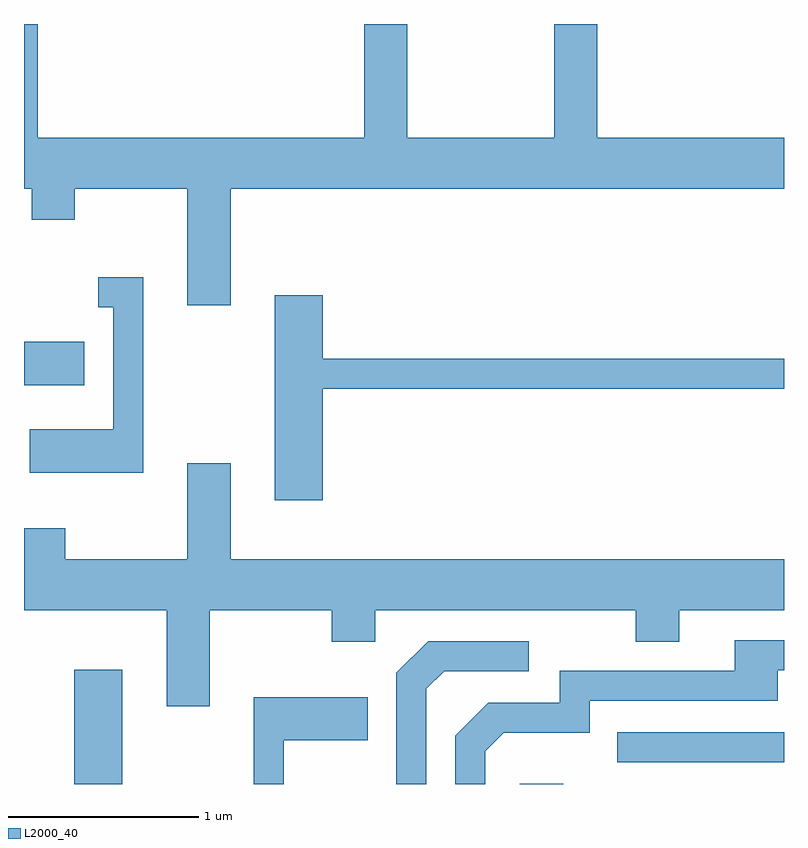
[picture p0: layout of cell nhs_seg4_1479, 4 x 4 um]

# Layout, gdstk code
import gdstk
lib = gdstk.Library(unit=1e-6, precision=1e-09)
def R(c, l, rs):  # rectangles x0, y0, x1, y1
    for r in rs: c.add(gdstk.rectangle(r[:2], r[2:], *l))
def P(c, l, *ps):  # polygons
    for p in ps: c.add(gdstk.Polygon(p, *l))
L2000_40 = (2000, 40)

nhs_seg4_1479 = lib.new_cell('nhs_seg4_1479')
R(nhs_seg4_1479, L2000_40, [(227.876,1355.982,228.129,1356.584), (230.221,1355.982,230.449,1355.984), (230.733,1356.096,231.611,1356.254), (227.611,1358.081,227.929,1358.309)])
P(nhs_seg4_1479, L2000_40, [(228.699,1359.116),(231.611,1359.116),(231.611,1359.384),(230.629,1359.384),(230.629,1359.982),(230.401,1359.982),(230.401,1359.384),(229.629,1359.384),(229.629,1359.982),(229.401,1359.982),(229.401,1359.384),(227.684,1359.384),(227.684,1359.982),(227.611,1359.982),(227.611,1359.116),(227.651,1359.116),(227.651,1358.951),(227.879,1358.951),(227.879,1359.116),(228.471,1359.116),(228.471,1358.501),(228.699,1358.501)],
  [(228.239,1358.649),(228.003,1358.649),(228.003,1358.491),(228.081,1358.491),(228.081,1357.849),(227.641,1357.849),(227.641,1357.621),(228.239,1357.621)],
  [(229.184,1358.061),(231.611,1358.061),(231.611,1358.219),(229.184,1358.219),(229.184,1358.554),(228.931,1358.554),(228.931,1357.476),(229.184,1357.476)],
  [(228.589,1356.896),(229.231,1356.896),(229.231,1356.731),(229.459,1356.731),(229.459,1356.896),(230.831,1356.896),(230.831,1356.731),(231.059,1356.731),(231.059,1356.896),(231.611,1356.896),(231.611,1357.164),(228.699,1357.164),(228.699,1357.669),(228.471,1357.669),(228.471,1357.164),(227.829,1357.164),(227.829,1357.329),(227.611,1357.329),(227.611,1356.896),(228.361,1356.896),(228.361,1356.391),(228.589,1356.391)],
  [(230.039,1356.154),(230.137,1356.251),(230.589,1356.251),(230.589,1356.421),(231.579,1356.421),(231.579,1356.581),(231.611,1356.581),(231.611,1356.739),(231.351,1356.739),(231.351,1356.579),(230.431,1356.579),(230.431,1356.409),(230.054,1356.409),(229.881,1356.237),(229.881,1355.982),(230.039,1355.982)],
  [(229.729,1356.484),(229.822,1356.576),(230.268,1356.576),(230.268,1356.734),(229.739,1356.734),(229.571,1356.567),(229.571,1355.982),(229.729,1355.982)],
  [(228.979,1356.211),(229.419,1356.211),(229.419,1356.439),(228.821,1356.439),(228.821,1355.982),(228.979,1355.982)])

lib.write_gds('nhs_seg4_1479.gds')
